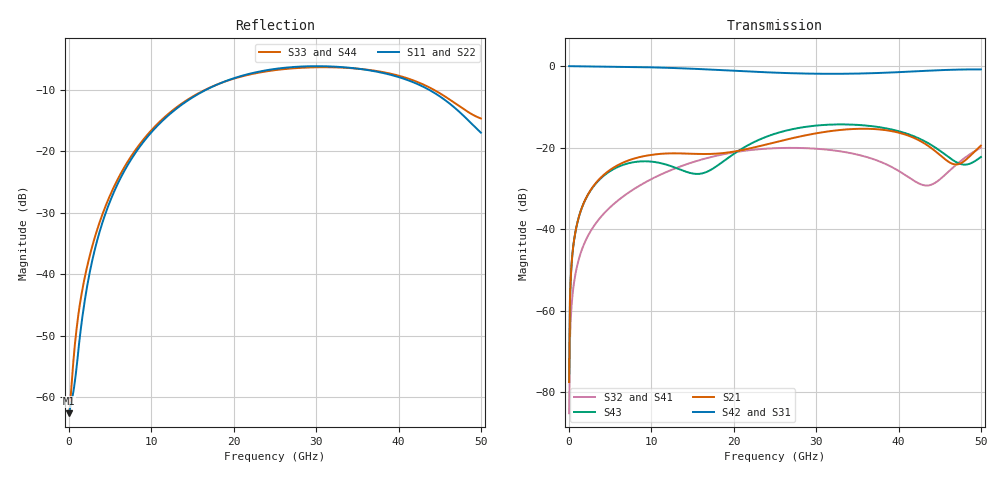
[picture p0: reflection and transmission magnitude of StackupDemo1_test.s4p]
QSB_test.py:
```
# 仅用于开发调试，不作为打包入口

import sys
import os
import matplotlib

from PyQt6.QtCore import QTimer
from PyQt6.QtWidgets import QApplication

os.environ.setdefault("SKRF_PLOT_ENV", "none")

if __name__ == '__main__':
    matplotlib.rcParams['axes.unicode_minus'] = False
    if sys.platform == 'win32':
        matplotlib.rcParams['font.sans-serif'] = ['SimHei']
        matplotlib.rcParams['mathtext.fontset'] = 'stix'
    else:
        matplotlib.rcParams['font.sans-serif'] = ['WenQuanYi Zen Hei']

    app = QApplication(sys.argv)
    from main_window import SParameterViewer_MainWin
    from QS_runtime_services.trial_manager import check_trial_permission
    from QS_runtime_services.version_manager import check_version_update_async

    if not check_trial_permission():
        sys.exit(1)

    viewer = SParameterViewer_MainWin()

    viewer.file_list.addItem('C:/Users/33202/Desktop/HFSS script/StackupDemo1_test.s4p')
    viewer.port1_input.setText("1")
    viewer.port2_input.setText("2")
    viewer.show()
    viewer.info_version()

    def run_startup_followups():
        viewer.prompt_usage_profile()
        check_version_update_async(parent=viewer)

    QTimer.singleShot(300, run_startup_followups)

    sys.exit(app.exec())
```
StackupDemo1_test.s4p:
! Touchstone file exported from HFSS 2019.1.0
!  File:  C:/Users/33202/Desktop/HFSS script/StackupDemo1_test.aedt
!  Generated:  5:38:57 ä¸å  8æ 29, 2025
!  Design:  StackupDesign
!  Project:  StackupDemo1_test
!  Setup:  Setup1
!  Solution:  Sweep1
! Variables:
!  Position_via_L11 = 0um
!  Position_via_L16 = 0um
!  Position_via_L4 = 758um
!  Position_via_L8 = 336um
!  Position_via_L9 = 240um
!  R_L10_pad_out = 45um
!  R_L11_pad_in = 45um
!  R_L11_pad_out = 45um
!  R_L12_pad_out = 45um
!  R_L13_pad_out = 45um
!  R_L14_pad_out = 45um
!  R_L15_pad_out = 45um
!  R_L16_pad_in = 150um
!  R_L16_pad_out = 150um
!  R_L4_pad_in = 45um
!  R_L4_pad_out = 45um
!  R_L5_pad_out = 45um
!  R_L6_pad_out = 45um
!  R_L7_pad_out = 45um
!  R_L8_pad_in = 50um
!  R_L8_pad_out = 100um
!  R_L9_pad_in = 100um
!  R_L9_pad_out = 50um
!  R_anti_L11 = 90um
!  R_anti_L16 = 450um
!  R_anti_L4 = 90um
!  R_anti_L8 = 180um
!  R_anti_L9 = 90um
!  R_anti_pcb = 400um
!  R_bottom_anti = 450um
!  R_bottom_pad = 150um
!  R_core_anti = 180um
!  R_core_pad = 100um
!  R_core_via = 50um
!  R_micro_anti = 90um
!  R_micro_c_anti = 100um
!  R_micro_c_pad = 50um
!  R_micro_c_via = 30um
!  R_micro_pad = 45um
!  R_micro_via = 30um
!  R_pad_pcb = 150um
!  R_via_pcb = 50um
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# GHz S RI R
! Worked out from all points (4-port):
!   500 points, 10 MHz to 50 GHz, reference per port
!   strongest paths, dB at 10 MHz, 12.53 GHz, 25.06 GHz, 37.58 GHz, 50 GHz:
!     S42: 0.0, -0.4, -1.6, -1.7, -0.8
!     S31: 0.0, -0.4, -1.6, -1.7, -0.8
!     S21: -77.5, -21.4, -18.7, -15.5, -19.5
!     S43: -77.5, -24.6, -16.6, -15.0, -22.3
!     S32: -85.2, -25.4, -20.1, -23.3, -20.0
!     S41: -85.2, -25.4, -20.1, -23.3, -20.0
!   lowest |S11| = -62.7 dB at 10 MHz (marker M1), VSWR 1.00
!   |S11| at or under -10 dB: start of sweep to 16.55 GHz; 43.78 GHz to end of sweep
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0.01  0.000736 1.08e-05  3.92e-05 0.000127  0.9992 -0.00151  -3.79e-05 -3.97e-05
      3.92e-05 0.000127  0.000736 1.08e-05  -3.79e-05 -3.97e-05  0.9992 -0.00151
      0.9992 -0.00151  -3.79e-05 -3.97e-05  0.000737 1e-05  3.93e-05 0.000127
      -3.79e-05 -3.97e-05  0.9992 -0.00151  3.93e-05 0.000127  0.000736 9.97e-06
6.321363  -0.0542 0.0301  0.0377 0.0516  0.6236 -0.7589  -0.0183 -0.0156
          0.0377 0.0516  -0.0543 0.0301  -0.0183 -0.0156  0.6235 -0.759
          0.6236 -0.7589  -0.0183 -0.0156  0.0171 -0.0647  0.0547 0.0251
          -0.0183 -0.0156  0.6235 -0.759  0.0547 0.0251  0.0171 -0.0647
50  -0.1337 0.0489  0.1049 0.014  0.8416 -0.3508  -0.0297 -0.0953
    0.1049 0.014  -0.1332 0.0497  -0.0297 -0.0954  0.8415 -0.3511
    0.8416 -0.3508  -0.0297 -0.0954  0.1797 -0.0474  -0.0562 0.0523
    -0.0297 -0.0953  0.8415 -0.3511  -0.0562 0.0523  0.18 -0.0466
